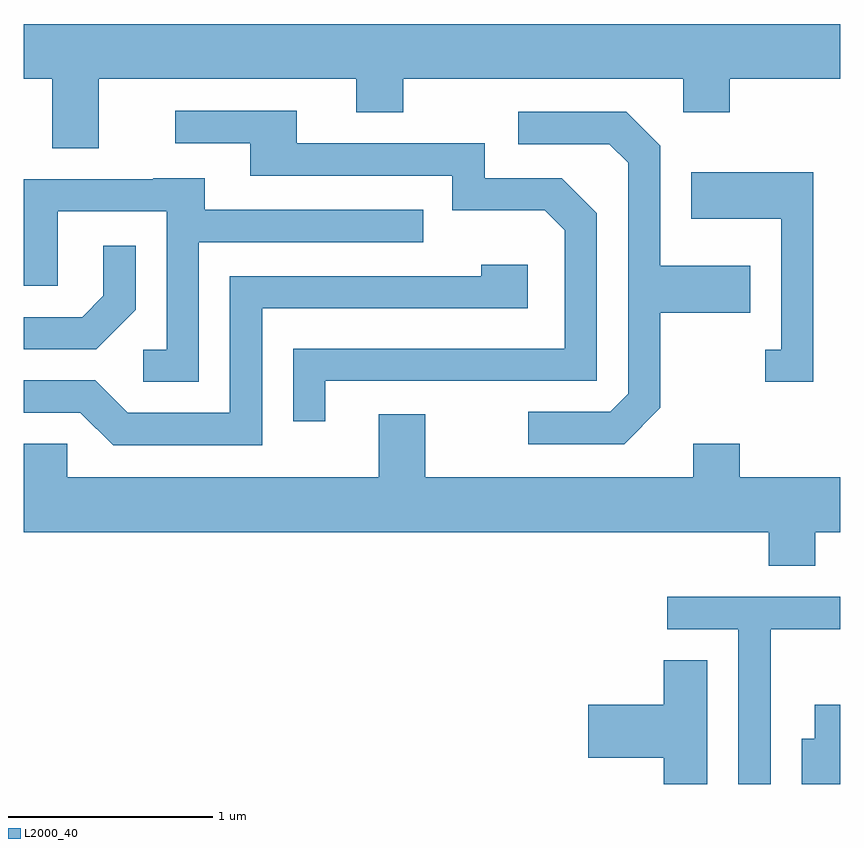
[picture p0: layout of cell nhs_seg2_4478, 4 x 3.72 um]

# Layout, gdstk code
import gdstk
lib = gdstk.Library(unit=1e-6, precision=1e-09)
def P(c, l, *ps):  # polygons
    for p in ps: c.add(gdstk.Polygon(p, *l))
L2000_40 = (2000, 40)

nhs_seg2_4478 = lib.new_cell('nhs_seg2_4478')
P(nhs_seg2_4478, L2000_40, [(317.611,997.256),(317.751,997.256),(317.751,996.916),(317.979,996.916),(317.979,997.256),(319.241,997.256),(319.241,997.091),(319.469,997.091),(319.469,997.256),(320.841,997.256),(320.841,997.091),(321.069,997.091),(321.069,997.256),(321.611,997.256),(321.611,997.524),(317.611,997.524)],
  [(319.089,995.776),(320.419,995.776),(320.419,996.597),(320.247,996.769),(319.869,996.769),(319.869,996.939),(318.949,996.939),(318.949,997.099),(318.353,997.099),(318.353,996.941),(318.721,996.941),(318.721,996.781),(319.711,996.781),(319.711,996.611),(320.164,996.611),(320.261,996.514),(320.261,995.934),(318.931,995.934),(318.931,995.578),(319.089,995.578)],
  [(320.729,995.644),(320.729,996.111),(321.169,996.111),(321.169,996.339),(320.729,996.339),(320.729,996.927),(320.562,997.094),(320.033,997.094),(320.033,996.936),(320.479,996.936),(320.571,996.844),(320.571,995.712),(320.484,995.624),(320.083,995.624),(320.083,995.466),(320.552,995.466)],
  [(321.479,996.799),(320.881,996.799),(320.881,996.571),(321.321,996.571),(321.321,995.929),(321.243,995.929),(321.243,995.771),(321.479,995.771)],
  [(318.469,996.456),(319.568,996.456),(319.568,996.614),(318.499,996.614),(318.499,996.769),(318.245,996.769),(318.245,996.764),(317.611,996.764),(317.611,996.241),(317.779,996.241),(317.779,996.606),(318.311,996.606),(318.311,995.929),(318.198,995.929),(318.198,995.771),(318.469,995.771)],
  [(318.159,996.124),(318.159,996.438),(318.001,996.438),(318.001,996.192),(317.899,996.089),(317.611,996.089),(317.611,995.931),(317.967,995.931)],
  [(318.779,996.131),(320.079,996.131),(320.079,996.344),(319.851,996.344),(319.851,996.289),(318.621,996.289),(318.621,995.619),(318.122,995.619),(317.962,995.779),(317.611,995.779),(317.611,995.621),(317.889,995.621),(318.049,995.461),(318.779,995.461)],
  [(321.489,995.036),(321.611,995.036),(321.611,995.304),(321.119,995.304),(321.119,995.469),(320.891,995.469),(320.891,995.304),(319.579,995.304),(319.579,995.614),(319.351,995.614),(319.351,995.304),(317.824,995.304),(317.824,995.469),(317.611,995.469),(317.611,995.036),(321.261,995.036),(321.261,994.871),(321.489,994.871)],
  [(321.269,994.561),(321.611,994.561),(321.611,994.719),(320.763,994.719),(320.763,994.561),(321.111,994.561),(321.111,993.802),(321.269,993.802)],
  [(320.959,994.409),(320.746,994.409),(320.746,994.189),(320.376,994.189),(320.376,993.931),(320.746,993.931),(320.746,993.802),(320.959,993.802)],
  [(321.611,994.189),(321.486,994.189),(321.486,994.024),(321.421,994.024),(321.421,993.802),(321.611,993.802)])

lib.write_gds('nhs_seg2_4478.gds')
